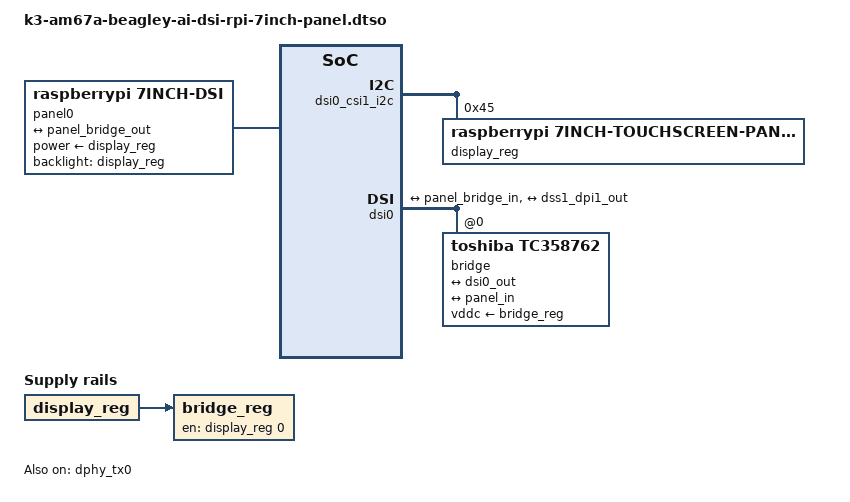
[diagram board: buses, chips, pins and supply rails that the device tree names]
// SPDX-License-Identifier: GPL-2.0
/**
 * DT Overlay for RPi 7inch touchscreen panel interfaced with DSI on
 *
 * RPi DSI Panel: https://www.raspberrypi.com/products/raspberry-pi-touch-display/
 *
 * Copyright (C) 2023 Texas Instruments Incorporated - https://www.ti.com/
 */

/dts-v1/;
/plugin/;

#include <dt-bindings/gpio/gpio.h>
#include <dt-bindings/interrupt-controller/irq.h>

/*
 * Helper to show loaded overlays under: /proc/device-tree/chosen/overlays/
 */
&{/chosen} {
	overlays {
		k3-am67a-beagley-ai-dsi-rpi-7inch-panel.kernel = __TIMESTAMP__;
	};
};

&{/} {
	mipi_switch: mipi-switch {
		oe-pin {
			default-state = "off";
		};

		sel-pin {
			default-state = "off";
		};
	};

	panel0 {
		compatible = "raspberrypi,7inch-dsi", "simple-panel";
		backlight = <&display_reg>;
		power-supply = <&display_reg>;

		port {
			panel_in: endpoint {
				remote-endpoint = <&panel_bridge_out>;
			};
		};
	};

	bridge_reg: bridge-regulator {
		compatible = "regulator-fixed";
		regulator-name = "bridge-reg";
		gpio = <&display_reg 0 0>;
		vin-supply = <&display_reg>;
		enable-active-high;
	};
};

&dphy_tx0 {
	status = "okay";
};

&dsi0_csi1_i2c {
	#address-cells = <1>;
	#size-cells = <0>;

	display_reg: regulator@45 {
		compatible = "raspberrypi,7inch-touchscreen-panel-regulator";
		reg = <0x45>;
		gpio-controller;
		#gpio-cells = <2>;
	};
};

&dsi0 {
	status = "okay";
	#address-cells = <1>;
	#size-cells = <0>;

	ports {
		#address-cells = <1>;
		#size-cells = <0>;

		port@0 {
			reg = <0>;
			dsi0_out: endpoint {
				remote-endpoint = <&panel_bridge_in>;
			};
		};

		port@1 {
			reg = <1>;
			dsi0_in: endpoint {
				remote-endpoint = <&dss1_dpi1_out>;
			};
		};
	};

	bridge@0 {
		status = "okay";
		compatible = "toshiba,tc358762";
		reg = <0>;
		vddc-supply = <&bridge_reg>;

		ports {
			#address-cells = <1>;
			#size-cells = <0>;

			port@0 {
				reg = <0>;
				panel_bridge_in: endpoint {
					remote-endpoint = <&dsi0_out>;
				};
			};

			port@1 {
				reg = <1>;
				panel_bridge_out: endpoint {
					remote-endpoint = <&panel_in>;
				};
			};
		};
	};
};

&dss1_ports {
	#address-cells = <1>;
	#size-cells = <0>;

	/* DSS1-VP2: DSI Output */
	port@1 {
		reg = <1>;
		dss1_dpi1_out: endpoint {
			remote-endpoint = <&dsi0_in>;
		};
	};
};
